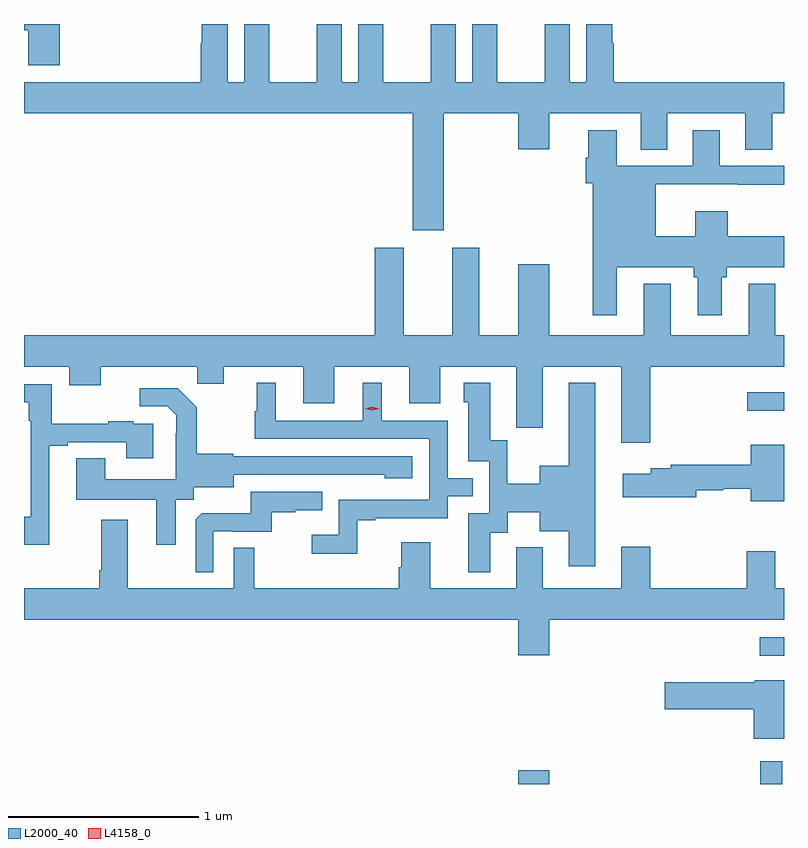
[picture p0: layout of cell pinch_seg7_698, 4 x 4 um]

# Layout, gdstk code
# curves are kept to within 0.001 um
import gdstk
lib = gdstk.Library(unit=1e-6, precision=1e-09)
def R(c, l, rs):  # rectangles x0, y0, x1, y1
    for r in rs: c.add(gdstk.rectangle(r[:2], r[2:], *l))
def P(c, l, *ps):  # polygons
    for p in ps: c.add(gdstk.Polygon(p, *l))
L2000_40 = (2000, 40)
L4158_0 = (4158, 0)

pinch_seg7_698 = lib.new_cell('pinch_seg7_698')
R(pinch_seg7_698, L2000_40, [(308.864,1015.735,309.028,1015.807), (310.138,1015.735,310.254,1015.855), (310.137,1016.411,310.264,1016.508), (310.071,1017.699,310.264,1017.796)])
P(pinch_seg7_698, L2000_40, [(308.309,1018.65),(308.473,1018.65),(308.473,1019.264),(308.864,1019.264),(308.864,1019.076),(309.028,1019.076),(309.028,1019.264),(309.509,1019.264),(309.509,1019.074),(309.649,1019.074),(309.649,1019.264),(310.061,1019.264),(310.061,1019.074),(310.201,1019.074),(310.201,1019.264),(310.264,1019.264),(310.264,1019.428),(309.368,1019.428),(309.368,1019.633),(309.361,1019.633),(309.361,1019.735),(309.224,1019.735),(309.224,1019.428),(309.136,1019.428),(309.136,1019.735),(309.005,1019.735),(309.005,1019.428),(308.755,1019.428),(308.755,1019.735),(308.624,1019.735),(308.624,1019.428),(308.536,1019.428),(308.536,1019.735),(308.405,1019.735),(308.405,1019.428),(308.155,1019.428),(308.155,1019.735),(308.024,1019.735),(308.024,1019.428),(307.936,1019.428),(307.936,1019.735),(307.805,1019.735),(307.805,1019.428),(307.555,1019.428),(307.555,1019.735),(307.424,1019.735),(307.424,1019.428),(307.336,1019.428),(307.336,1019.735),(307.199,1019.735),(307.199,1019.633),(307.193,1019.633),(307.193,1019.428),(306.264,1019.428),(306.264,1019.264),(308.309,1019.264)],
  [(306.452,1019.735),(306.264,1019.735),(306.264,1019.703),(306.287,1019.703),(306.287,1019.517),(306.452,1019.517)],
  [(309.385,1018.454),(309.79,1018.454),(309.79,1018.401),(309.809,1018.401),(309.809,1018.203),(309.937,1018.203),(309.937,1018.401),(309.963,1018.401),(309.963,1018.454),(310.264,1018.454),(310.264,1018.618),(309.968,1018.618),(309.968,1018.75),(309.797,1018.75),(309.797,1018.618),(309.589,1018.618),(309.589,1018.892),(310.021,1018.892),(310.021,1018.888),(310.264,1018.888),(310.264,1018.989),(309.925,1018.989),(309.925,1019.176),(309.785,1019.176),(309.785,1018.989),(309.385,1018.989),(309.385,1019.176),(309.233,1019.176),(309.233,1019.03),(309.221,1019.03),(309.221,1018.896),(309.257,1018.896),(309.257,1018.203),(309.385,1018.203)],
  [(309.56,1017.932),(310.264,1017.932),(310.264,1018.096),(310.219,1018.096),(310.219,1018.369),(310.079,1018.369),(310.079,1018.096),(309.667,1018.096),(309.667,1018.369),(309.527,1018.369),(309.527,1018.096),(309.028,1018.096),(309.028,1018.471),(308.864,1018.471),(308.864,1018.096),(308.659,1018.096),(308.659,1018.558),(308.519,1018.558),(308.519,1018.096),(308.263,1018.096),(308.263,1018.558),(308.111,1018.558),(308.111,1018.096),(306.264,1018.096),(306.264,1017.932),(306.503,1017.932),(306.503,1017.833),(306.667,1017.833),(306.667,1017.932),(307.177,1017.932),(307.177,1017.842),(307.315,1017.842),(307.315,1017.932),(307.733,1017.932),(307.733,1017.738),(307.897,1017.738),(307.897,1017.932),(308.291,1017.932),(308.291,1017.738),(308.455,1017.738),(308.455,1017.932),(308.855,1017.932),(308.855,1017.721),(308.856,1017.721),(308.856,1017.609),(308.995,1017.609),(308.995,1017.932),(309.407,1017.932),(309.407,1017.531),(309.56,1017.531)],
  [(308.019,1017.123),(308.113,1017.123),(308.113,1017.135),(308.493,1017.135),(308.493,1017.249),(308.627,1017.249),(308.627,1017.345),(308.493,1017.345),(308.493,1017.648),(308.146,1017.648),(308.146,1017.847),(308.048,1017.847),(308.048,1017.648),(307.588,1017.648),(307.588,1017.847),(307.49,1017.847),(307.49,1017.696),(307.479,1017.696),(307.479,1017.552),(308.397,1017.552),(308.397,1017.231),(307.92,1017.231),(307.92,1017.046),(307.779,1017.046),(307.779,1016.948),(308.019,1016.948)],
  [(308.719,1017.058),(308.809,1017.058),(308.809,1017.164),(308.978,1017.164),(308.978,1017.065),(309.131,1017.065),(309.131,1016.88),(309.271,1016.88),(309.271,1017.847),(309.131,1017.847),(309.131,1017.409),(308.978,1017.409),(308.978,1017.316),(308.808,1017.316),(308.808,1017.543),(308.719,1017.543),(308.719,1017.847),(308.579,1017.847),(308.579,1017.744),(308.603,1017.744),(308.603,1017.435),(308.712,1017.435),(308.712,1017.159),(308.603,1017.159),(308.603,1016.85),(308.719,1016.85)],
  [(306.397,1017.516),(306.493,1017.516),(306.493,1017.534),(306.803,1017.534),(306.803,1017.45),(306.943,1017.45),(306.943,1017.63),(306.839,1017.63),(306.839,1017.643),(306.707,1017.643),(306.707,1017.632),(306.409,1017.632),(306.409,1017.84),(306.264,1017.84),(306.264,1017.743),(306.288,1017.743),(306.288,1017.647),(306.3,1017.647),(306.3,1017.142),(306.264,1017.142),(306.264,1016.994),(306.397,1016.994)],
  [(307.063,1017.232),(307.158,1017.232),(307.158,1017.296),(307.369,1017.296),(307.369,1017.363),(308.163,1017.362),(308.163,1017.344),(308.308,1017.344),(308.308,1017.459),(307.365,1017.459),(307.365,1017.472),(307.173,1017.472),(307.173,1017.717),(307.073,1017.817),(306.873,1017.817),(306.873,1017.723),(307.017,1017.723),(307.064,1017.676),(307.064,1017.581),(307.062,1017.581),(307.062,1017.34),(306.691,1017.34),(306.691,1017.449),(306.539,1017.449),(306.539,1017.23),(306.959,1017.23),(306.959,1016.994),(307.063,1016.994)],
  [(310.264,1017.52),(310.088,1017.52),(310.088,1017.416),(309.667,1017.416),(309.667,1017.397),(309.563,1017.397),(309.563,1017.367),(309.414,1017.367),(309.414,1017.245),(309.802,1017.245),(309.802,1017.28),(309.945,1017.28),(309.945,1017.288),(310.088,1017.288),(310.088,1017.224),(310.264,1017.224)],
  [(307.26,1017.066),(307.36,1017.066),(307.36,1017.063),(307.568,1017.063),(307.568,1017.165),(307.691,1017.165),(307.691,1017.176),(307.835,1017.176),(307.835,1017.273),(307.458,1017.273),(307.458,1017.161),(307.199,1017.161),(307.167,1017.129),(307.167,1016.849),(307.26,1016.849)],
  [(308.855,1016.764),(308.401,1016.764),(308.401,1017.007),(308.249,1017.007),(308.249,1016.877),(308.237,1016.877),(308.237,1016.764),(307.477,1016.764),(307.477,1016.978),(307.368,1016.978),(307.368,1016.764),(306.811,1016.764),(306.811,1017.127),(306.671,1017.127),(306.671,1016.86),(306.659,1016.86),(306.659,1016.764),(306.264,1016.764),(306.264,1016.6),(308.864,1016.6),(308.864,1016.412),(309.028,1016.412),(309.028,1016.6),(310.264,1016.6),(310.264,1016.764),(310.219,1016.764),(310.219,1016.959),(310.067,1016.959),(310.067,1016.764),(309.56,1016.764),(309.56,1016.983),(309.407,1016.983),(309.407,1016.764),(308.995,1016.764),(308.995,1016.98),(308.855,1016.98)],
  [(310.264,1016.28),(310.11,1016.28),(310.11,1016.271),(309.636,1016.271),(309.636,1016.129),(310.106,1016.129),(310.106,1015.973),(310.264,1015.973)])
P(pinch_seg7_698, L4158_0, [(308.097,1017.701),(308.061,1017.711),(308.061,1017.711),(308.061,1017.711),(308.097,1017.721),(308.133,1017.711),(308.133,1017.711),(308.133,1017.711)])

lib.write_gds('pinch_seg7_698.gds')
